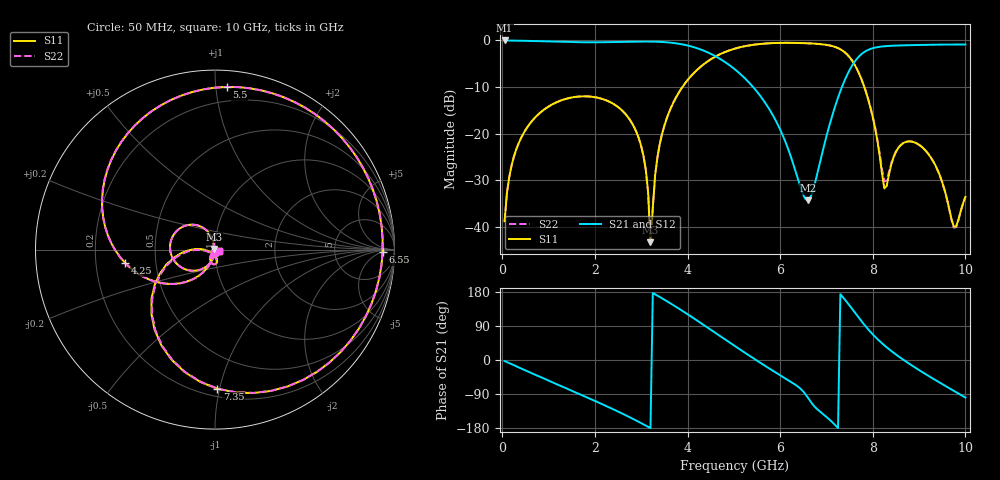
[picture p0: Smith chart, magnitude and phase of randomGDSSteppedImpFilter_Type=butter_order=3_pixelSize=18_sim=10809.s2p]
! freq	dB(S11)	phase(S11)	dB(S12)	phase(S12)
!  dB(S21)	phase(S21)	dB(S22)	phase(S22)
!S-par simulation data
#  GHz  S  DB  R 50
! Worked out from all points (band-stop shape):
!   200 points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, 50 MHz to 10 GHz, reference 50 ohm
!   highest |S21| = -0.01 dB at 50 MHz (marker M1); lowest = -34.4 dB at 6.6 GHz (marker M2)
!   |S21| within 3 dB of the highest: start of sweep to 4.528 GHz; 7.748 GHz to end of sweep
!   lowest |S11| = -43.4 dB at 3.2 GHz (marker M3), VSWR 1.01, Z = 49.4 + j0.383 ohm
!   |S11| at or under -10 dB: start of sweep to 3.89 GHz; 7.817 GHz to end of sweep
!   |S22| runs from -44.2 to -0.5 dB; largest |S21 - S12| = 0
!   S11 on the Smith chart (normalised r, x): 50 MHz: 1.00, -0.02; 4.25 GHz: 0.33, -0.07; 5.5 GHz: 0.10, +1.07; 6.55 GHz: 28, -6; 7.35 GHz: 0.25, -0.99; 10 GHz: 1.04, -0.01
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0.05  -38.84 -92.5  -0.01 -2.8  -0.01 -2.8  -38.84 -92.5
0.2  -26.89 -101.1  -0.03 -11.1  -0.03 -11.1  -26.89 -101.1
0.5  -19.26 -118.0  -0.09 -27.5  -0.09 -27.5  -19.26 -118.0
1.75  -12.00 174.9  -0.39 -94.4  -0.39 -94.4  -12.00 174.9
2.9  -19.77 111.0  -0.25 -160.3  -0.25 -160.3  -19.77 110.7
3.1  -27.90 102.6  -0.24 -173.2  -0.24 -173.2  -27.92 101.6
3.2  -43.39 145.1  -0.25 -179.8  -0.25 -179.8  -44.20 141.2
3.4  -22.26 -109.1  -0.30 166.3  -0.30 166.3  -22.27 -108.4
4.25  -5.93 -171.4  -1.82 100.6  -1.82 100.6  -5.93 -171.3
5.05  -1.68 122.6  -6.44 34.5  -6.44 34.5  -1.68 122.7
5.5  -0.83 86.0  -11.01 -1.7  -11.01 -1.7  -0.83 86.0
6.55  -0.60 -0.8  -34.13 -91.0  -34.13 -91.0  -0.59 -0.6
6.6  -0.62 -5.3  -34.37 -99.8  -34.37 -99.8  -0.62 -5.1
6.7  -0.67 -14.4  -32.52 -116.9  -32.52 -116.9  -0.67 -14.2
7.35  -2.21 -89.0  -9.61 166.5  -9.61 166.5  -2.20 -88.5
7.85  -10.98 -163.0  -2.29 88.1  -2.29 88.1  -10.93 -161.7
8.25  -31.79 -139.1  -1.25 38.7  -1.25 38.7  -30.29 -138.7
8.35  -28.80 -86.6  -1.18 28.6  -1.18 28.6  -28.23 -92.3
8.85  -21.74 -97.0  -1.00 -14.9  -1.00 -14.9  -21.75 -98.9
9.35  -26.80 -123.0  -0.91 -52.8  -0.91 -52.8  -26.84 -124.7
9.75  -40.03 -81.1  -0.87 -81.5  -0.87 -81.5  -40.20 -82.3
10  -33.61 -18.6  -0.87 -99.1  -0.87 -99.1  -33.65 -20.2
